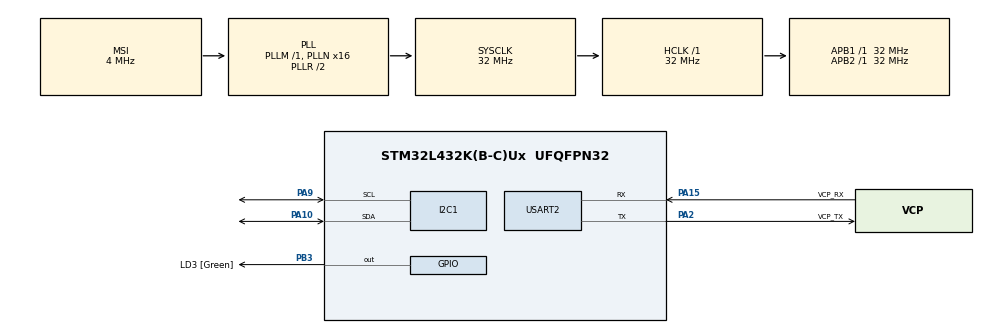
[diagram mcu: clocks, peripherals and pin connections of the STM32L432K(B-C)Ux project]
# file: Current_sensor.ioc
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I2C1.Timing=0x00707CBB
Mcu.Family=STM32L4
Mcu.Name=STM32L432K(B-C)Ux
Mcu.Package=UFQFPN32
NVIC.PriorityGroup=NVIC_PRIORITYGROUP_4
PA0.GPIO_Label=MCO [High speed clock in]
PA0.Mode=HSE-External-Clock-Source-for-LittleOrca
PA0.Signal=RCC_CK_IN
PA10.Mode=I2C
PA10.Signal=I2C1_SDA
PA13\ (JTMS-SWDIO).GPIO_Label=SWDIO
PA13\ (JTMS-SWDIO).Mode=Serial_Wire
PA13\ (JTMS-SWDIO).Signal=SYS_JTMS-SWDIO
PA14\ (JTCK-SWCLK).GPIO_Label=SWCLK
PA14\ (JTCK-SWCLK).Mode=Serial_Wire
PA14\ (JTCK-SWCLK).Signal=SYS_JTCK-SWCLK
PA15\ (JTDI).GPIO_Label=VCP_RX
PA15\ (JTDI).Mode=Asynchronous
PA15\ (JTDI).Signal=USART2_RX
PA2.GPIO_Label=VCP_TX
PA2.Mode=Asynchronous
PA2.Signal=USART2_TX
PA9.Mode=I2C
PA9.Signal=I2C1_SCL
PB3\ (JTDO-TRACESWO).GPIO_Label=LD3 [Green]
PB3\ (JTDO-TRACESWO).Signal=GPIO_Output
PC14-OSC32_IN\ (PC14).Mode=LSE-External-Oscillator
PC14-OSC32_IN\ (PC14).Signal=RCC_OSC32_IN
PC15-OSC32_OUT\ (PC15).Mode=LSE-External-Oscillator
PC15-OSC32_OUT\ (PC15).Signal=RCC_OSC32_OUT
ProjectManager.HeapSize=0x200
ProjectManager.StackSize=0x400
ProjectManager.TargetToolchain=STM32CubeIDE
RCC.AHBFreq_Value=32000000
RCC.APB1Freq_Value=32000000
RCC.APB1TimFreq_Value=32000000
RCC.APB2Freq_Value=32000000
RCC.APB2TimFreq_Value=32000000
RCC.CortexFreq_Value=32000000
RCC.HCLKFreq_Value=32000000
RCC.HSE_VALUE=8000000
RCC.HSI16_VALUE=16000000
RCC.HSI48_VALUE=48000000
RCC.HSI_VALUE=16000000
RCC.MSI_VALUE=4000000
RCC.PLLMUL=RCC_PLLMUL_4
RCC.PLLN=16
RCC.SYSCLKFreq_VALUE=32000000
RCC.SYSCLKSource=RCC_SYSCLKSOURCE_PLLCLK
RCC.VCOOutputFreq_Value=64000000
USART2.VirtualMode-Asynchronous=VM_ASYNC
board=NUCLEO-L432KC

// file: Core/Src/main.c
/* USER CODE BEGIN Header */
/**
  ******************************************************************************
  * @file           : main.c
  * @brief          : Main program body
  ******************************************************************************
  * @attention
  *
  * <h2><center>&copy; Copyright (c) 2021 STMicroelectronics.
  * All rights reserved.</center></h2>
  *
  * This software component is licensed by ST under BSD 3-Clause license,
  * the "License"; You may not use this file except in compliance with the
  * License. You may obtain a copy of the License at:
  *                        opensource.org/licenses/BSD-3-Clause
  *
  ******************************************************************************
  */
/* USER CODE END Header */
#include "main.h"

/* USER CODE BEGIN Includes */
#include "stdio.h"
#include "string.h"
#include "INA260.h"
/* USER CODE END Includes */

I2C_HandleTypeDef hi2c1;

UART_HandleTypeDef huart2;

/* USER CODE BEGIN PV */
ina260_t* hina260;
/* USER CODE END PV */

void SystemClock_Config(void);
static void MX_GPIO_Init(void);
static void MX_USART2_UART_Init(void);
static void MX_I2C1_Init(void);
/* USER CODE BEGIN PFP */
static void INA260_Init(void);
/* USER CODE END PFP */

int main(void)
{

  /* MCU Configuration--------------------------------------------------------*/

  /* Reset of all peripherals, Initializes the Flash interface and the Systick. */
  HAL_Init();

  /* Configure the system clock */
  SystemClock_Config();

  /* Initialize all configured peripherals */
  MX_GPIO_Init();
  MX_USART2_UART_Init();
  MX_I2C1_Init();
  /* USER CODE BEGIN 2 */

  INA260_Init(); // Initialises INA260 by creating pointer to a new ina260_t struct and setting the configuration

    static float voltage = 0;
    static float current = 0;
    static float power = 0;
  /* USER CODE END 2 */

  /* Infinite loop */
  /* USER CODE BEGIN WHILE */
  while (1)
  {
	  HAL_Delay(500);
	  	  /**
	  	    * reads the bus voltage (mV) stored in the INA260 voltage register for both
	  	    * continuous and triggered conversions
	  	    */
	  	  if(ina260_conversion_ready(hina260) == HAL_OK)
	  	  {
	  		  ina260_get_voltage(hina260, &voltage);
	  	  }
	  	  /**
	  	    * reads the current (mA) stored in the INA260 current register for both
	  	    * continuous and triggered conversions
	  	    */
	  	  HAL_Delay(100);
	  	  if(ina260_conversion_ready(hina260) == HAL_OK)
	  	  {
	  		  ina260_get_current(hina260, &current);
	  	  }
	  	  /**
	  	    * reads the power (mW) stored in the INA260 power register for both continuous
	  	    * and triggered conversions
	  	    */
	  	  HAL_Delay(100);
	  	  if(ina260_conversion_ready(hina260) == HAL_OK)
	  	  {
	  		  ina260_get_power(hina260, &power);
	  	  }
    /* USER CODE END WHILE */

  }
}

void SystemClock_Config(void)
{
  RCC_OscInitTypeDef RCC_OscInitStruct = {0};
  RCC_ClkInitTypeDef RCC_ClkInitStruct = {0};

  /** Configure the main internal regulator output voltage
  */
  if (HAL_PWREx_ControlVoltageScaling(PWR_REGULATOR_VOLTAGE_SCALE1) != HAL_OK)
  {
    Error_Handler();
  }
  /** Configure LSE Drive Capability
  */
  HAL_PWR_EnableBkUpAccess();
  __HAL_RCC_LSEDRIVE_CONFIG(RCC_LSEDRIVE_LOW);
  /** Initializes the RCC Oscillators according to the specified parameters
  * in the RCC_OscInitTypeDef structure.
  */
  RCC_OscInitStruct.OscillatorType = RCC_OSCILLATORTYPE_LSE|RCC_OSCILLATORTYPE_MSI;
  RCC_OscInitStruct.LSEState = RCC_LSE_ON;
  RCC_OscInitStruct.MSIState = RCC_MSI_ON;
  RCC_OscInitStruct.MSICalibrationValue = 0;
  RCC_OscInitStruct.MSIClockRange = RCC_MSIRANGE_6;
  RCC_OscInitStruct.PLL.PLLState = RCC_PLL_ON;
  RCC_OscInitStruct.PLL.PLLSource = RCC_PLLSOURCE_MSI;
  RCC_OscInitStruct.PLL.PLLM = 1;
  RCC_OscInitStruct.PLL.PLLN = 16;
  RCC_OscInitStruct.PLL.PLLP = RCC_PLLP_DIV7;
  RCC_OscInitStruct.PLL.PLLQ = RCC_PLLQ_DIV2;
  RCC_OscInitStruct.PLL.PLLR = RCC_PLLR_DIV2;
  if (HAL_RCC_OscConfig(&RCC_OscInitStruct) != HAL_OK)
  {
    Error_Handler();
  }
  /** Initializes the CPU, AHB and APB buses clocks
  */
  RCC_ClkInitStruct.ClockType = RCC_CLOCKTYPE_HCLK|RCC_CLOCKTYPE_SYSCLK
                              |RCC_CLOCKTYPE_PCLK1|RCC_CLOCKTYPE_PCLK2;
  RCC_ClkInitStruct.SYSCLKSource = RCC_SYSCLKSOURCE_PLLCLK;
  RCC_ClkInitStruct.AHBCLKDivider = RCC_SYSCLK_DIV1;
  RCC_ClkInitStruct.APB1CLKDivider = RCC_HCLK_DIV1;
  RCC_ClkInitStruct.APB2CLKDivider = RCC_HCLK_DIV1;

  if (HAL_RCC_ClockConfig(&RCC_ClkInitStruct, FLASH_LATENCY_1) != HAL_OK)
  {
    Error_Handler();
  }
  /** Enable MSI Auto calibration
  */
  HAL_RCCEx_EnableMSIPLLMode();
}

static void MX_I2C1_Init(void)
{

  hi2c1.Instance = I2C1;
  hi2c1.Init.Timing = 0x00707CBB;
  hi2c1.Init.OwnAddress1 = 0;
  hi2c1.Init.AddressingMode = I2C_ADDRESSINGMODE_7BIT;
  hi2c1.Init.DualAddressMode = I2C_DUALADDRESS_DISABLE;
  hi2c1.Init.OwnAddress2 = 0;
  hi2c1.Init.OwnAddress2Masks = I2C_OA2_NOMASK;
  hi2c1.Init.GeneralCallMode = I2C_GENERALCALL_DISABLE;
  hi2c1.Init.NoStretchMode = I2C_NOSTRETCH_DISABLE;
  if (HAL_I2C_Init(&hi2c1) != HAL_OK)
  {
    Error_Handler();
  }
  /** Configure Analogue filter
  */
  if (HAL_I2CEx_ConfigAnalogFilter(&hi2c1, I2C_ANALOGFILTER_ENABLE) != HAL_OK)
  {
    Error_Handler();
  }
  /** Configure Digital filter
  */
  if (HAL_I2CEx_ConfigDigitalFilter(&hi2c1, 0) != HAL_OK)
  {
    Error_Handler();
  }

}

static void MX_USART2_UART_Init(void)
{

  huart2.Instance = USART2;
  huart2.Init.BaudRate = 115200;
  huart2.Init.WordLength = UART_WORDLENGTH_8B;
  huart2.Init.StopBits = UART_STOPBITS_1;
  huart2.Init.Parity = UART_PARITY_NONE;
  huart2.Init.Mode = UART_MODE_TX_RX;
  huart2.Init.HwFlowCtl = UART_HWCONTROL_NONE;
  huart2.Init.OverSampling = UART_OVERSAMPLING_16;
  huart2.Init.OneBitSampling = UART_ONE_BIT_SAMPLE_DISABLE;
  huart2.AdvancedInit.AdvFeatureInit = UART_ADVFEATURE_NO_INIT;
  if (HAL_UART_Init(&huart2) != HAL_OK)
  {
    Error_Handler();
  }

}

static void MX_GPIO_Init(void)
{
  GPIO_InitTypeDef GPIO_InitStruct = {0};

  /* GPIO Ports Clock Enable */
  __HAL_RCC_GPIOC_CLK_ENABLE();
  __HAL_RCC_GPIOA_CLK_ENABLE();
  __HAL_RCC_GPIOB_CLK_ENABLE();

  /*Configure GPIO pin Output Level */
  HAL_GPIO_WritePin(LD3_GPIO_Port, LD3_Pin, GPIO_PIN_RESET);

  /*Configure GPIO pin : LD3_Pin */
  GPIO_InitStruct.Pin = LD3_Pin;
  GPIO_InitStruct.Mode = GPIO_MODE_OUTPUT_PP;
  GPIO_InitStruct.Pull = GPIO_NOPULL;
  GPIO_InitStruct.Speed = GPIO_SPEED_FREQ_LOW;
  HAL_GPIO_Init(LD3_GPIO_Port, &GPIO_InitStruct);

}

/* USER CODE BEGIN 4 */
// Created by me
static void INA260_Init(void)
{
	hina260 = ina260_new(&hi2c1, INA260_SLAVE_ADDRESS);

	if(ina260_set_config(hina260,
			iotPower,
			iomTriggered,
			ictConvert1p1ms,
			ictConvert1p1ms,
			issSample64
			) != HAL_OK)
	{
		Error_Handler();
	}
}

/* USER CODE END 4 */

void Error_Handler(void)
{
  __disable_irq();
  while (1)
  {
  }
}

/************************ (C) COPYRIGHT STMicroelectronics *****END OF FILE****/
